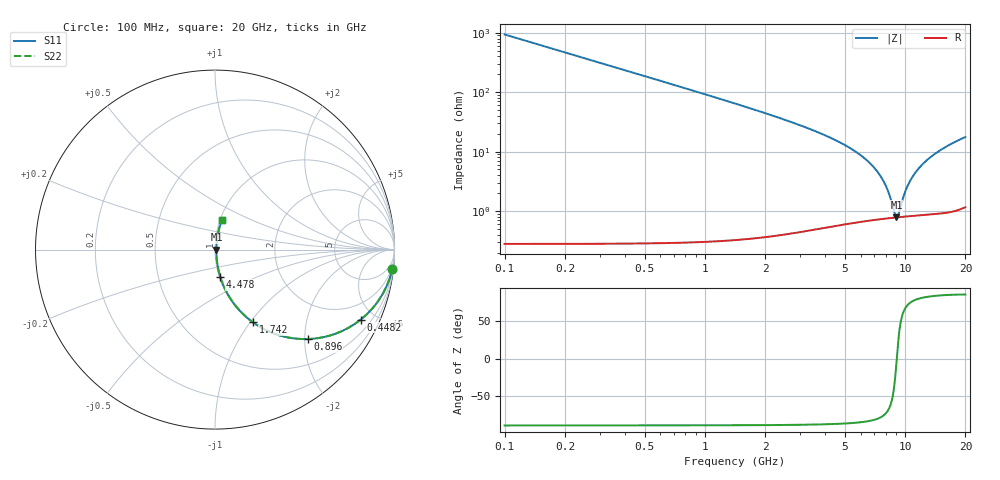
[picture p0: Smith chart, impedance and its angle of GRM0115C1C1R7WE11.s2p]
!Murata Part Number: GRM0115C1C1R7WE11
!These Parameters are Measured in Series Mode Connection
!Data Generated on Mar 30, 2021
!  o--ll--o
!Port1  Port2
!  o------o
!Operation Temp=25[degC], DC Bias Voltage=0[V]
!Freq. Start=100[MHz] Stop=20[GHz] 401[Steps]
# Hz S RI R 50
!Freq.(Hz) S11(Real) S11(Imag) S21(Real) S21(Imag) S12(Real) S12(Imag) S22(Real) S22(Imag)
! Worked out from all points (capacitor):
!   401 points, 100 MHz to 20 GHz, reference 50 ohm
!   read as one part in series: C = 1.7 pF near 199.5 MHz
!   lowest |Z| = 783 mohm at 9.055 GHz (marker M1)
!   series resonance near 9.084 GHz, so ESL is about 180 pH
!   S11 on the Smith chart (normalised r, x): 100 MHz: 1, -19; 448.2 MHz: 1.01, -4.17; 896 MHz: 1.01, -2.07; 1.742 GHz: 1.01, -1.03; 4.478 GHz: 1.01, -0.31; 20 GHz: 1.02, +0.35
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1e8  0.9887 -0.1056  0.0113 0.1056  0.0113 0.1056  0.9887 -0.1056
2.99e8  0.907 -0.2899  0.093 0.2899  0.093 0.2899  0.907 -0.2899
4.4825e8  0.8124 -0.3897  0.1876 0.3897  0.1876 0.3897  0.8124 -0.3897
6.4725e8  0.6739 -0.4678  0.3261 0.4678  0.3261 0.4678  0.6739 -0.4678
8.96e8  0.5166 -0.4983  0.4834 0.4983  0.4834 0.4983  0.5166 -0.4983
1.294e9  0.3344 -0.4695  0.6656 0.4695  0.6656 0.4695  0.3344 -0.4695
1.74175e9  0.2121 -0.4054  0.7879 0.4054  0.7879 0.4054  0.2121 -0.4054
2.43825e9  0.1144 -0.3128  0.8856 0.3128  0.8856 0.3128  0.1144 -0.3128
3.43325e9  0.0551 -0.218  0.9449 0.218  0.9449 0.218  0.0551 -0.218
4.478e9  0.0291 -0.151  0.9709 0.151  0.9709 0.151  0.0291 -0.151
6.7665e9  0.0105 -0.0595  0.9895 0.0595  0.9895 0.0595  0.0105 -0.0595
7.9605e9  0.00809 -0.0264  0.9919 0.0264  0.9919 0.0264  0.00809 -0.0264
8.3585e9  0.00781 -0.0166  0.9922 0.0166  0.9922 0.0166  0.00781 -0.0166
8.90575e9  0.00772 -0.00395  0.9923 0.00395  0.9923 0.00395  0.00772 -0.00395
9.055e9  0.00774 -0.000643  0.9923 0.000643  0.9923 0.000643  0.00774 -0.000643
9.254e9  0.00781 0.00368  0.9922 -0.00368  0.9922 -0.00368  0.00781 0.00368
1.005e10  0.00841 0.0201  0.9916 -0.0201  0.9916 -0.0201  0.00841 0.0201
1.059725e10  0.00908 0.0307  0.9909 -0.0307  0.9909 -0.0307  0.00908 0.0307
1.13435e10  0.0103 0.0443  0.9897 -0.0443  0.9897 -0.0443  0.0103 0.0443
1.338325e10  0.0149 0.0782  0.9851 -0.0782  0.9851 -0.0782  0.0149 0.0782
1.67165e10  0.0258 0.1262  0.9742 -0.1262  0.9742 -0.1262  0.0258 0.1262
2e10  0.0403 0.1665  0.9597 -0.1665  0.9597 -0.1665  0.0403 0.1665
